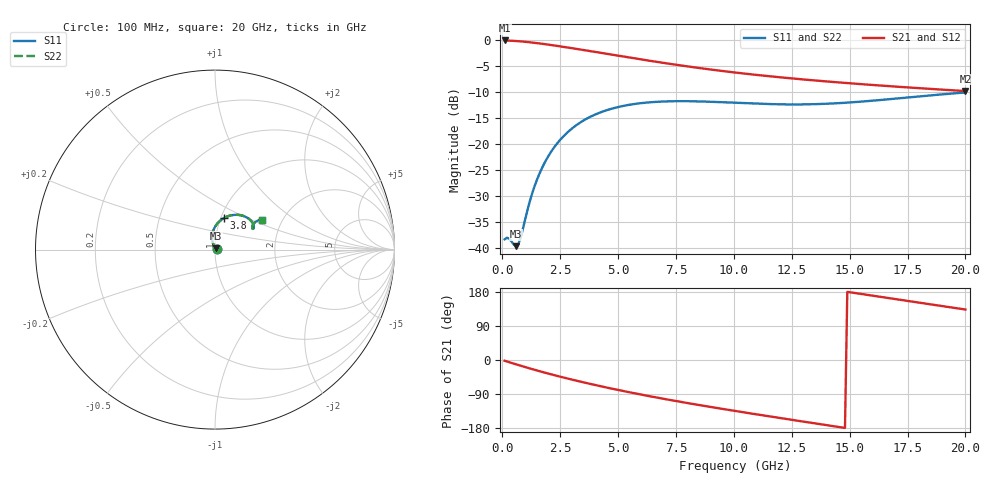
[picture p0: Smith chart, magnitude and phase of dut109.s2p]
! Touchstone file exported from HFSS 2024.1.0
!  File:  C:/UserFiles/LocalFiles/RDL_TSV_Batchsim/temp_RDL_TSV_109_1779421734.aedt
!  Generated:  12:01:42 PM May 22, 2026
!  Design:  RDL_TSV
!  Project:  temp_RDL_TSV_109_1779421734
!  Setup:  Setup1
!  Solution:  Sweep
! Variables:
!  dtsv = 10.89um
!  hbump = 3um
!  htsv = 54.85um
!  ldown = 443.49um
!  lrdl = 573.8um
!  p = 40
!  p1 = 52.87um
!  rhole = 10um
!  subl = 3625.67um
!  t = 450um
!  tdown = 4.76um
!  trdl = 4.32um
!  viad = 10um
!  wdown = 25.01um
!  wrdl = 26.93um
!  xbump = 18um
# GHz S MA R 50.000000
! Terminal data exported
! Port[1] = TM1_1_T1
! Port[2] = TM1_4_T1
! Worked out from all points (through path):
!   200 points, 100 MHz to 20 GHz, reference 50 ohm
!   highest |S21| = -0.11 dB at 100 MHz (marker M1); lowest = -9.8 dB at 20 GHz (marker M2)
!   group delay of S21, straight-line fit = 29.7 ps
!   lowest |S11| = -39.7 dB at 600 MHz (marker M3), VSWR 1.02, Z = 50.7 + j0.79 ohm
!   |S11| at or under -10 dB: start of sweep to end of sweep
!   |S22| runs from -39.7 to -10.1 dB; largest |S21 - S12| = 9.6e-15
!   S11 on the Smith chart (normalised r, x): 100 MHz: 1.02, +0.00; 3.8 GHz: 1.03, +0.37; 20 GHz: 1.58, +0.58
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0.1  0.01202 9.2  0.9876 -2.0  0.9876 -2.0  0.01202 9.2
! Gamma 0 0 0 0
! Port Impedance 50 0 50 0
0.2  0.01247 13.8  0.9858 -4.0  0.9858 -4.0  0.01247 13.8
0.3  0.01219 18.1  0.9836 -5.9  0.9836 -5.9  0.01219 18.1
0.6  0.01034 48.9  0.9752 -11.5  0.9752 -11.5  0.01033 48.9
0.7  0.01091 65.4  0.9716 -13.4  0.9716 -13.4  0.0109 65.4
0.8  0.01267 80.3  0.9676 -15.2  0.9676 -15.2  0.01265 80.4
1.1  0.02364 103.3  0.9536 -20.7  0.9536 -20.7  0.02364 103.4
1.4  0.03939 107.7  0.9371 -26.0  0.9371 -26.0  0.0394 107.7
1.8  0.06385 104.9  0.9126 -32.8  0.9126 -32.8  0.06388 105.0
2.1  0.08328 100.8  0.8931 -37.7  0.8931 -37.7  0.08334 100.9
2.5  0.1092 94.5  0.8665 -44.0  0.8665 -44.0  0.1093 94.6
3  0.1398 86.4  0.833 -51.6  0.833 -51.6  0.14 86.5
3.5  0.1673 78.7  0.7997 -58.9  0.7997 -58.9  0.1675 78.8
3.8  0.1819 74.3  0.7801 -63.1  0.7801 -63.1  0.1821 74.4
5.1  0.2284 58.0  0.6992 -80.3  0.6992 -80.3  0.2288 58.1
6.8  0.2544 42.8  0.6083 -100.6  0.6083 -100.6  0.2548 42.9
8.4  0.2561 33.9  0.5401 -117.8  0.5401 -117.8  0.2566 34.0
10.1  0.2479 29.3  0.4839 -134.9  0.4839 -134.9  0.2485 29.4
11.7  0.2406 28.7  0.443 -150.3  0.443 -150.3  0.2412 28.8
13.4  0.2404 30.5  0.4087 -166.3  0.4087 -166.3  0.2411 30.6
16.7  0.2684 34.3  0.3588 163.2  0.3588 163.2  0.2694 34.3
20  0.3118 32.3  0.3218 133.2  0.3218 133.2  0.313 32.4
